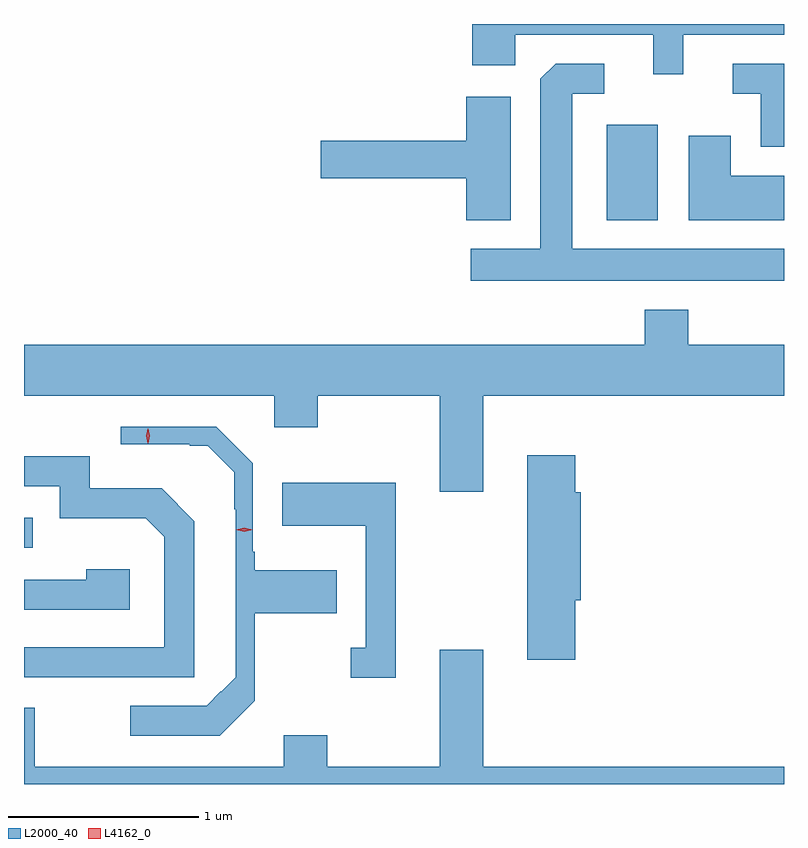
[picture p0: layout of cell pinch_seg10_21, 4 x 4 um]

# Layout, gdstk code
import gdstk
lib = gdstk.Library(unit=1e-6, precision=1e-09)
def R(c, l, rs):  # rectangles x0, y0, x1, y1
    for r in rs: c.add(gdstk.rectangle(r[:2], r[2:], *l))
def P(c, l, *ps):  # polygons
    for p in ps: c.add(gdstk.Polygon(p, *l))
L2000_40 = (2000, 40)
L4162_0 = (4162, 0)

pinch_seg10_21 = lib.new_cell('pinch_seg10_21')
R(pinch_seg10_21, L2000_40, [(657.333,2106.456,657.378,2106.614), (660.401,2108.181,660.669,2108.684)])
P(pinch_seg10_21, L2000_40, [(660.804,2109.156),(661.333,2109.156),(661.333,2109.213),(659.691,2109.213),(659.691,2108.996),(659.919,2108.996),(659.919,2109.156),(660.646,2109.156),(660.646,2108.948),(660.804,2108.948)],
  [(661.333,2109.004),(661.063,2109.004),(661.063,2108.846),(661.211,2108.846),(661.211,2108.566),(661.333,2108.566)],
  [(661.333,2108.029),(660.219,2108.029),(660.219,2108.846),(660.388,2108.846),(660.388,2109.004),(660.132,2109.004),(660.051,2108.924),(660.051,2108.029),(659.683,2108.029),(659.683,2107.861),(661.333,2107.861)],
  [(659.894,2108.829),(659.661,2108.829),(659.661,2108.599),(658.896,2108.599),(658.896,2108.401),(659.661,2108.401),(659.661,2108.181),(659.894,2108.181)],
  [(661.333,2108.414),(661.054,2108.414),(661.054,2108.624),(660.831,2108.624),(660.831,2108.181),(661.333,2108.181)],
  [(659.749,2107.256),(661.333,2107.256),(661.333,2107.524),(660.829,2107.524),(660.829,2107.709),(660.601,2107.709),(660.601,2107.524),(657.333,2107.524),(657.333,2107.256),(658.651,2107.256),(658.651,2107.091),(658.879,2107.091),(658.879,2107.256),(659.521,2107.256),(659.521,2106.751),(659.749,2106.751)],
  [(658.547,2105.652),(658.547,2106.111),(658.979,2106.111),(658.979,2106.339),(658.547,2106.339),(658.547,2106.435),(658.537,2106.435),(658.537,2106.901),(658.346,2107.092),(657.843,2107.092),(657.843,2107),(658.205,2107),(658.205,2106.994),(658.301,2106.994),(658.44,2106.855),(658.44,2106.659),(658.447,2106.659),(658.447,2105.774),(658.371,2105.698),(658.369,2105.7),(658.294,2105.624),(657.893,2105.624),(657.893,2105.466),(658.362,2105.466)],
  [(660.234,2106.181),(660.264,2106.181),(660.264,2106.749),(660.234,2106.749),(660.234,2106.944),(659.981,2106.944),(659.981,2105.866),(660.234,2105.866)],
  [(658.229,2106.597),(658.057,2106.769),(657.679,2106.769),(657.679,2106.939),(657.333,2106.939),(657.333,2106.781),(657.521,2106.781),(657.521,2106.611),(657.974,2106.611),(658.071,2106.514),(658.071,2105.934),(657.333,2105.934),(657.333,2105.776),(658.229,2105.776)],
  [(659.289,2106.799),(658.691,2106.799),(658.691,2106.571),(659.131,2106.571),(659.131,2105.929),(659.053,2105.929),(659.053,2105.771),(659.289,2105.771)],
  [(657.889,2106.344),(657.661,2106.344),(657.661,2106.289),(657.333,2106.289),(657.333,2106.131),(657.889,2106.131)],
  [(661.333,2105.304),(659.749,2105.304),(659.749,2105.919),(659.521,2105.919),(659.521,2105.304),(658.929,2105.304),(658.929,2105.469),(658.701,2105.469),(658.701,2105.304),(657.389,2105.304),(657.389,2105.614),(657.333,2105.614),(657.333,2105.213),(661.333,2105.213)])
P(pinch_seg10_21, L4162_0, [(657.985,2107.006),(657.985,2107.007),(657.976,2107.045),(657.985,2107.083),(657.986,2107.083),(657.986,2107.083),(657.995,2107.045),(657.986,2107.007)],
  [(658.492,2106.541),(658.448,2106.551),(658.447,2106.551),(658.448,2106.552),(658.492,2106.561),(658.537,2106.552),(658.538,2106.551),(658.537,2106.551)])

lib.write_gds('pinch_seg10_21.gds')
